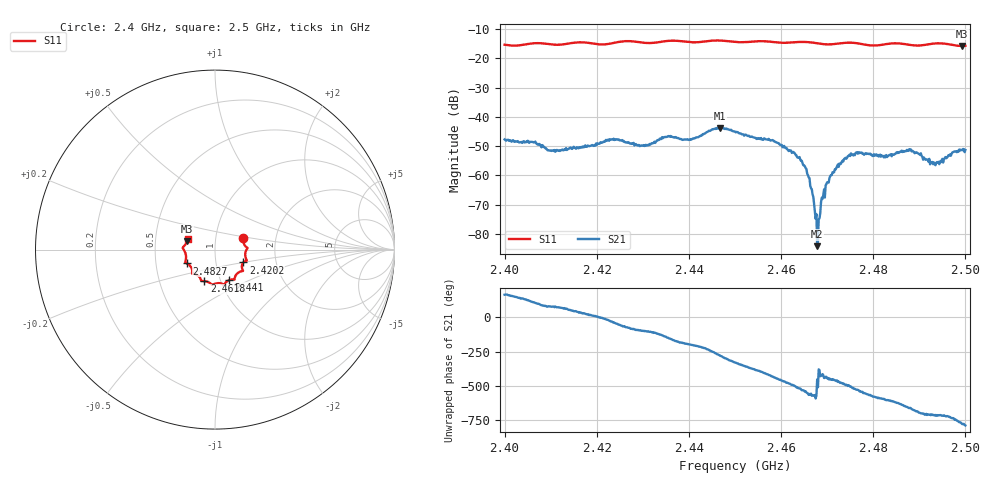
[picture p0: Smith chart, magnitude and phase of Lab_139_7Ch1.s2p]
# Hz S RI R 50
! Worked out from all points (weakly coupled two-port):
!   601 points, 2.4 GHz to 2.5 GHz, reference 50 ohm
!   highest |S21| = -43.77 dB at 2.4467 GHz (marker M1); lowest = -84.2 dB at 2.4678 GHz (marker M2)
!   lowest |S11| = -15.8 dB at 2.4992 GHz (marker M3), VSWR 1.39, Z = 36.4 + j3.65 ohm
!   |S11| at or under -10 dB: start of sweep to end of sweep
!   S12 and S22 are empty: the file has one direction only
!   S11 on the Smith chart (normalised r, x): 2.4 GHz: 1.36, +0.18; 2.4202 GHz: 1.36, -0.20; 2.441 GHz: 1.10, -0.39; 2.4618 GHz: 0.84, -0.30; 2.4827 GHz: 0.72, -0.12; 2.5 GHz: 0.73, +0.09
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2.4e9  0.1583 0.0627  -0.00399 0.00101  0 0  0 0
2.410167e9  0.1722 -0.00765  0.000551 0.00256  0 0  0 0
2.416667e9  0.1772 -0.0609  0.00261 0.0016  0 0  0 0
2.420167e9  0.1586 -0.0713  0.00353 0.000351  0 0  0 0
2.429833e9  0.1382 -0.1236  -0.000396 -0.0032  0 0  0 0
2.433333e9  0.1116 -0.1509  -0.00203 -0.00345  0 0  0 0
2.441e9  0.0787 -0.1697  -0.00389 0.0017  0 0  0 0
2.446667e9  0.0484 -0.195  0.000723 0.00644  0 0  0 0
2.45e9  0.0287 -0.1874  0.00482 0.00283  0 0  0 0
2.461833e9  -0.0592 -0.1755  -0.00148 -0.00224  0 0  0 0
2.465e9  -0.0761 -0.1742  -0.00148 -0.000119  0 0  0 0
2.466667e9  -0.0787 -0.1684  -0.000496 0.000307  0 0  0 0
2.467833e9  -0.0815 -0.1604  -2.52e-06 -6.19e-05  0 0  0 0
2.470167e9  -0.0967 -0.1431  0.000108 -0.000753  0 0  0 0
2.4735e9  -0.1232 -0.1346  -0.00101 -0.00141  0 0  0 0
2.476667e9  -0.127 -0.1267  -0.0023 -0.000474  0 0  0 0
2.482667e9  -0.1558 -0.0772  -0.000973 0.00178  0 0  0 0
2.483333e9  -0.1601 -0.0751  -0.000946 0.00197  0 0  0 0
2.488167e9  -0.1614 -0.0476  0.00152 0.00232  0 0  0 0
2.493833e9  -0.1798 0.00857  0.00168 0.000215  0 0  0 0
2.499167e9  -0.1548 0.0487  0.00158 -0.0022  0 0  0 0
2.5e9  -0.1522 0.0608  0.000992 -0.00253  0 0  0 0
